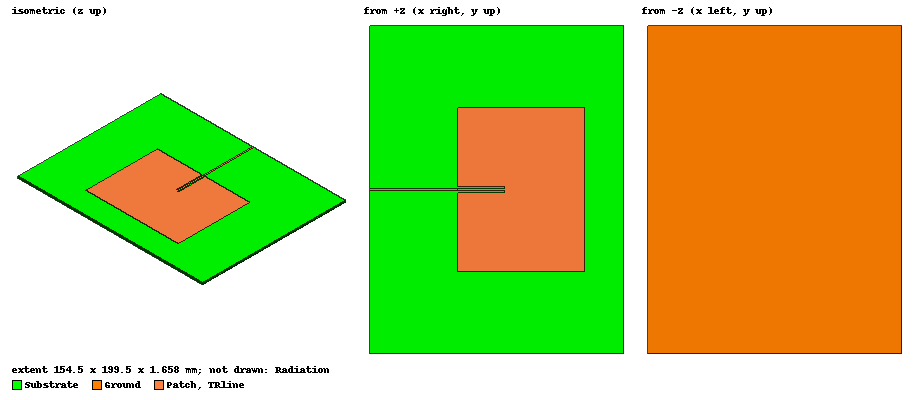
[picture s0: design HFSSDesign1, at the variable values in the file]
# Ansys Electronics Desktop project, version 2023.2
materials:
  vacuum: permittivity=1
  copper: permeability=0.999991 conductivity=58000000
  FR4_epoxy: permittivity=4.4 dielectric_loss_tangent=0.02
  air: permittivity=1.0006 permeability=1.0000004

design HFSSDesign1 (HFSS, HFSS Terminal Network, model units mm)
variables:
  Xpatch = 77.27mm
  Ypatch = 99.767315mm
  hSub = 1.588mm
  widthCT = 1.4mm
  Htrace = 0.035mm
  Ltrace = 53.6085mm
  D = 28.302mm
  S = 1mm
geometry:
  Ground [copper] = rectangle(corner=(0mm, 0mm, 0mm), x_size=2*Xpatch, y_size=2*Ypatch)
  Substrate [FR4_epoxy] = box(corner=(0mm, 0mm, 0mm), size=(2*Xpatch, 2*Ypatch, hSub))
  Ground.thicken(0.035mm)
  TRline [copper] = rectangle(corner=(0mm, Ypatch-(widthCT/2), Hsub+Htrace), x_size=Ltrace, y_size=widthCT)
  Patch [copper] = rectangle(corner=(Ltrace, .5*Ypatch, hSub+Htrace), x_size=Xpatch, y_size=Ypatch)
  [TRline, Patch].thicken(0.035mm)
  Rectangle1 = rectangle(corner=(Ltrace, Ypatch-(widthCT/2), hSub+Htrace+Htrace), x_size=D, y_size=-S)
  Rectangle1.thicken(0.035mm)
  Rectangle2 = rectangle(corner=(Ltrace, Ypatch+(widthCT/2), hSub+Htrace), x_size=D, y_size=S)
  Rectangle2.thicken(0.035mm)
  Patch.subtract(Rectangle1, Rectangle2)
  Rectangle3 = rectangle(corner=(0mm, Ypatch-(widthCT/2), 0mm), y_size=widthCT, z_size=hSub+Htrace*2)
  Radiation [air] = box(corner=(300mm, 350mm, -15mm), size=(-360mm, -450mm, 30mm))
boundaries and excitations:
  Rad1: Radiation Objects=Radiation
  1: Lumped Port Objects=Rectangle3 LumpedPortType=Modal Modes{Mode1{IntLine{(0, 99.767315, 0.035) -> (0, 99.767315, 1.658)} CharImp=Zpi}} Impedance=50ohm
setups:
  Setup1: HfssDriven Frequency=915MHz MaxDeltaS=0.012 MaximumPasses=20 MinimumPasses=1 MinimumConvergedPasses=1 PercentRefinement=30 BasisOrder=1 PortAccuracy=2 DrivenSolverType="Direct Solver"
    sweep Sweep: 457.5MHz to 1372.5MHz, 401 points; Type=Fast SaveFields
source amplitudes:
  1:1: 1V 0deg
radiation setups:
  Infinite Sphere5: Infinite Sphere Theta=0deg..360deg step 1deg Phi=-180deg..180deg step 1deg
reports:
  Terminal S Parameter Plot 1: dB(St(1,1)) vs Freq on Setup1 : Sweep
  Gain Plot 1: dB(GainTotal) vs Theta on Setup1 : LastAdaptive, Infinite Sphere5 [Phi=all Freq=0.915GHz]
